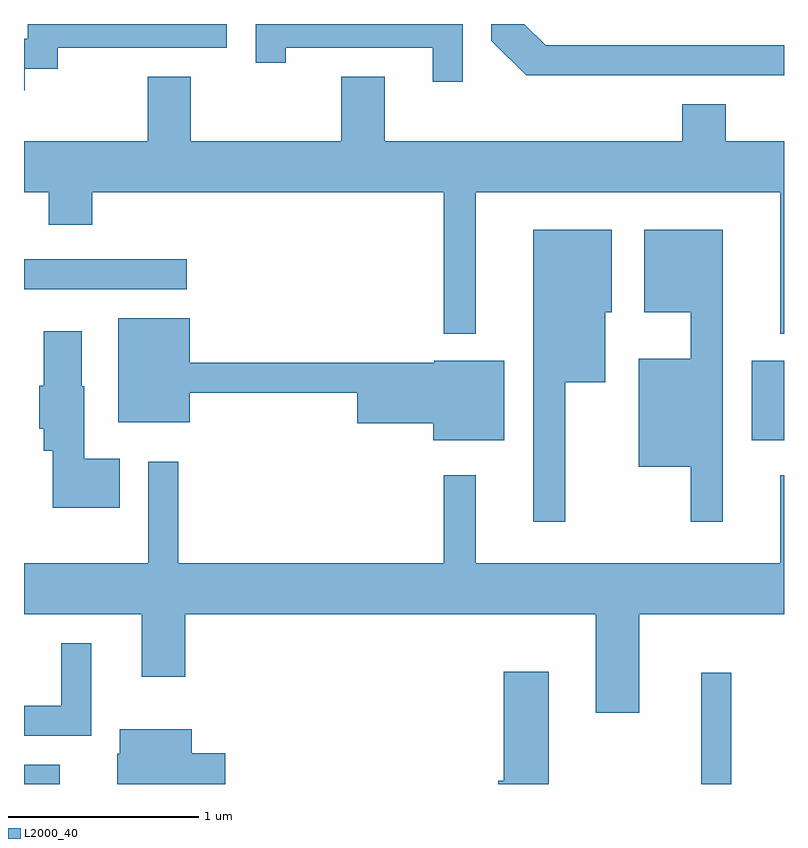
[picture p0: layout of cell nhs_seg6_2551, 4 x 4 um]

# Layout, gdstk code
import gdstk
lib = gdstk.Library(unit=1e-6, precision=1e-09)
def R(c, l, rs):  # rectangles x0, y0, x1, y1
    for r in rs: c.add(gdstk.rectangle(r[:2], r[2:], *l))
def P(c, l, *ps):  # polygons
    for p in ps: c.add(gdstk.Polygon(p, *l))
L2000_40 = (2000, 40)

nhs_seg6_2551 = lib.new_cell('nhs_seg6_2551')
R(nhs_seg6_2551, L2000_40, [(261.611,1640.162,261.799,1640.264), (265.176,1640.162,265.334,1640.748), (265.441,1641.971,265.611,1642.389), (261.611,1642.766,262.468,1642.924)])
P(nhs_seg6_2551, L2000_40, [(263.919,1644.162),(262.831,1644.162),(262.831,1643.958),(262.989,1643.958),(262.989,1644.036),(263.761,1644.036),(263.761,1643.858),(263.919,1643.858)],
  [(261.614,1643.926),(261.789,1643.926),(261.789,1644.036),(262.679,1644.036),(262.679,1644.162),(261.631,1644.162),(261.631,1644.084),(261.611,1644.084),(261.611,1643.813),(261.614,1643.813)],
  [(265.611,1644.049),(264.357,1644.049),(264.244,1644.162),(264.071,1644.162),(264.071,1644.074),(264.254,1643.891),(265.611,1643.891)],
  [(263.989,1643.276),(265.591,1643.276),(265.591,1642.533),(265.611,1642.533),(265.611,1643.544),(265.304,1643.544),(265.304,1643.739),(265.076,1643.739),(265.076,1643.544),(263.509,1643.544),(263.509,1643.884),(263.281,1643.884),(263.281,1643.544),(262.489,1643.544),(262.489,1643.884),(262.261,1643.884),(262.261,1643.544),(261.611,1643.544),(261.611,1643.276),(261.741,1643.276),(261.741,1643.106),(261.969,1643.106),(261.969,1643.276),(263.821,1643.276),(263.821,1642.533),(263.989,1642.533)],
  [(265.289,1643.079),(264.876,1643.079),(264.876,1642.646),(265.121,1642.646),(265.121,1642.399),(264.846,1642.399),(264.846,1641.831),(265.121,1641.831),(265.121,1641.543),(265.289,1641.543)],
  [(264.459,1642.276),(264.669,1642.276),(264.669,1642.646),(264.704,1642.646),(264.704,1643.079),(264.291,1643.079),(264.291,1641.543),(264.459,1641.543)],
  [(264.139,1642.389),(263.77,1642.389),(263.77,1642.379),(262.484,1642.379),(262.484,1642.614),(262.106,1642.614),(262.106,1642.066),(262.484,1642.066),(262.484,1642.221),(263.366,1642.221),(263.366,1642.061),(263.766,1642.061),(263.766,1641.971),(264.139,1641.971)],
  [(262.114,1641.874),(261.929,1641.874),(261.929,1642.255),(261.914,1642.255),(261.914,1642.544),(261.716,1642.544),(261.716,1642.259),(261.691,1642.259),(261.691,1642.031),(261.716,1642.031),(261.716,1641.916),(261.761,1641.916),(261.761,1641.616),(262.114,1641.616)],
  [(264.849,1641.056),(265.611,1641.056),(265.611,1641.788),(265.591,1641.788),(265.591,1641.324),(263.989,1641.324),(263.989,1641.788),(263.821,1641.788),(263.821,1641.324),(262.424,1641.324),(262.424,1641.858),(262.266,1641.858),(262.266,1641.324),(261.611,1641.324),(261.611,1641.056),(262.231,1641.056),(262.231,1640.726),(262.459,1640.726),(262.459,1641.056),(264.621,1641.056),(264.621,1640.536),(264.849,1640.536)],
  [(261.964,1640.903),(261.806,1640.903),(261.806,1640.574),(261.611,1640.574),(261.611,1640.416),(261.964,1640.416)],
  [(264.374,1640.754),(264.136,1640.754),(264.136,1640.179),(264.106,1640.179),(264.106,1640.162),(264.374,1640.162)],
  [(262.669,1640.324),(262.494,1640.324),(262.494,1640.449),(262.116,1640.449),(262.116,1640.32),(262.101,1640.32),(262.101,1640.162),(262.669,1640.162)])

lib.write_gds('nhs_seg6_2551.gds')
